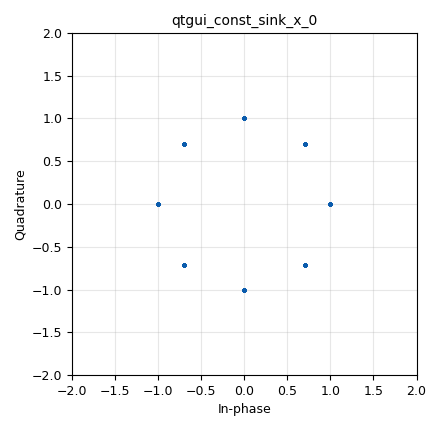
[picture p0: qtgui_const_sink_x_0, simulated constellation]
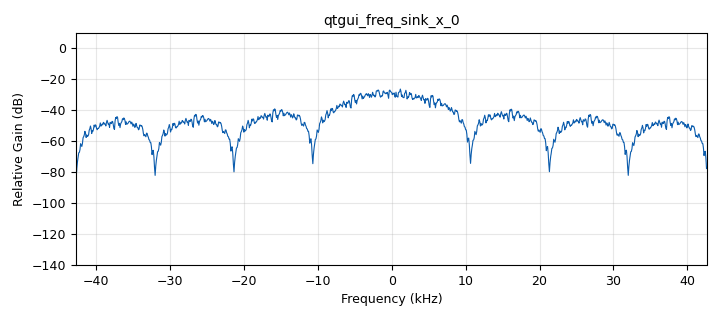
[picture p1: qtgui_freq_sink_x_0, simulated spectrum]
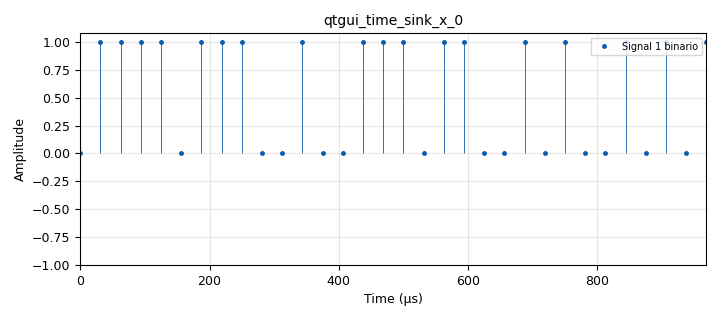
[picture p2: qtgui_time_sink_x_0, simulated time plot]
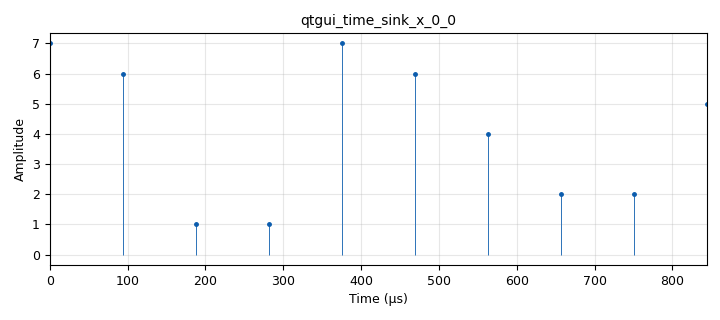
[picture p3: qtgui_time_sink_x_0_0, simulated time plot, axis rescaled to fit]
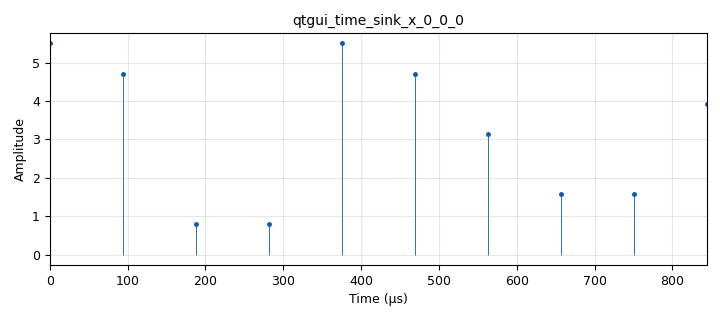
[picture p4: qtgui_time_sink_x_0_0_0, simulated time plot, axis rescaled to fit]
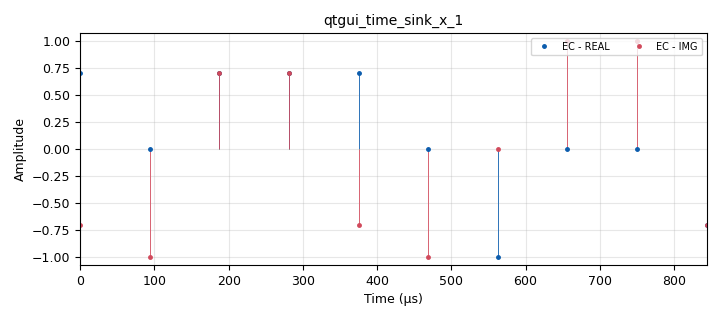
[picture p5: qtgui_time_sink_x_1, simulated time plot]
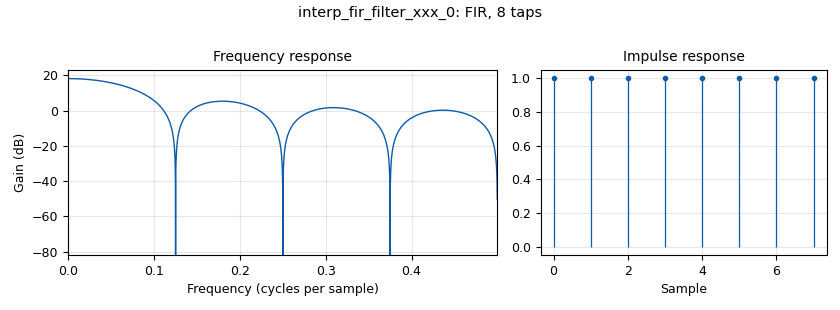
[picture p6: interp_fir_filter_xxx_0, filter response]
options:
  parameters:
    generate_options: qt_gui
    id: practica_5
    output_language: python
    title: Not titled yet
  states: {}

blocks:
- name: M
  id: variable
  parameters:
    value: '8'
  states: {}
- name: h
  id: variable
  parameters:
    value: (1.,1.,1.,1.,1.,1.,1.,1.)
  states: {}
- name: nbs
  id: variable
  parameters:
    value: int(math.log(M,2))
  states: {}
- name: rb
  id: variable
  parameters:
    value: '32000'
  states: {}
- name: rs
  id: variable
  parameters:
    value: rb/nbs
  states: {}
- name: samp_rate
  id: variable
  parameters:
    value: rs * sps
  states: {}
- name: sps
  id: variable
  parameters:
    value: len(h)
  states: {}
- name: analog_const_source_x_0
  id: analog_const_source_x
  parameters:
    const: '1.'
    type: float
  states: {}
- name: analog_random_source_x_0
  id: analog_random_source_x
  parameters:
    max: '2'
    min: '0'
    num_samps: '1000'
    repeat: 'True'
    type: byte
  states: {}
- name: blocks_char_to_float_0
  id: blocks_char_to_float
  parameters:
    scale: '1'
  states: {}
- name: blocks_char_to_float_0_0
  id: blocks_char_to_float
  parameters:
    scale: '1'
  states: {}
- name: blocks_char_to_float_1
  id: blocks_char_to_float
  parameters:
    scale: '1'
  states: {}
- name: blocks_multiply_const_vxx_0
  id: blocks_multiply_const_vxx
  parameters:
    const: 2*math.pi/M
    type: float
  states: {}
- name: blocks_repack_bits_bb_0
  id: blocks_repack_bits_bb
  parameters:
    endianness: gr.GR_LSB_FIRST
    k: '1'
    l: nbs
  states: {}
- name: epy_block_0
  id: epy_block
  parameters:
    _source_code: "import numpy as np\nfrom gnuradio import gr\n\nclass blk(gr.sync_block):\n    \"\"\"VCO Complex - genera señal compleja a partir de amplitud y fase\"\"\"\n\n    def __init__(self):\n        gr.sync_block.__init__(\n            self,\n            name='VCO complex',\n            in_sig=[np.float32, np.float32],\n            out_sig=[np.complex64]\n        )\n\n    def work(self, input_items, output_items):\n        amplitude = input_items[0]\n        phase = input_items[1]\n        output = output_items[0]\n        output[:] = amplitude * np.exp(1j * phase)\n        return len(output)\n\n"
  states: {}
- name: import_0
  id: import
  parameters:
    imports: import math
  states: {}
- name: interp_fir_filter_xxx_0
  id: interp_fir_filter_xxx
  parameters:
    interp: '8'
    taps: h
    type: ccc
  states: {}
- name: qtgui_const_sink_x_0
  id: qtgui_const_sink_x
  parameters:
    size: '1024'
    type: complex
  states: {}
- name: qtgui_freq_sink_x_0
  id: qtgui_freq_sink_x
  parameters:
    average: '0.05'
    bw: samp_rate
    fc: '0'
    fftsize: '1024'
    type: complex
  states: {}
- name: qtgui_time_sink_x_0
  id: qtgui_time_sink_x
  parameters:
    label1: Signal 1 binario
    marker1: '0'
    size: '32'
    srate: rb
    stemplot: 'True'
    type: float
    width1: '2'
  states: {}
- name: qtgui_time_sink_x_0_0
  id: qtgui_time_sink_x
  parameters:
    marker1: '0'
    size: int(32/nbs)
    srate: rs
    stemplot: 'True'
    type: float
    width1: '2'
  states: {}
- name: qtgui_time_sink_x_0_0_0
  id: qtgui_time_sink_x
  parameters:
    marker1: '0'
    size: int(32/nbs)
    srate: rs
    stemplot: 'True'
    type: float
    width1: '2'
  states: {}
- name: qtgui_time_sink_x_1
  id: qtgui_time_sink_x
  parameters:
    axislabels: 'False'
    color1: dark blue
    color2: dark red
    label1: EC - REAL
    label2: EC - IMG
    marker1: '9'
    marker2: '0'
    size: int(32/nbs)
    srate: rs
    stemplot: 'True'
    type: complex
    width1: '3'
    width2: '3'
  states: {}
- name: qtgui_time_sink_x_1_0
  id: qtgui_time_sink_x
  parameters:
    axislabels: 'False'
    color1: dark blue
    color2: dark red
    label1: EC - REAL
    label2: EC - IMG
    marker1: '9'
    marker2: '0'
    size: 32*sps
    srate: samp_rate
    type: complex
    width1: '3'
    width2: '3'
  states: {}

connections:
- [analog_const_source_x_0, '0', epy_block_0, '0']
- [analog_random_source_x_0, '0', blocks_char_to_float_0, '0']
- [analog_random_source_x_0, '0', blocks_repack_bits_bb_0, '0']
- [blocks_char_to_float_0, '0', qtgui_time_sink_x_0, '0']
- [blocks_char_to_float_0_0, '0', qtgui_time_sink_x_0_0, '0']
- [blocks_char_to_float_1, '0', blocks_multiply_const_vxx_0, '0']
- [blocks_multiply_const_vxx_0, '0', epy_block_0, '1']
- [blocks_multiply_const_vxx_0, '0', qtgui_time_sink_x_0_0_0, '0']
- [blocks_repack_bits_bb_0, '0', blocks_char_to_float_0_0, '0']
- [blocks_repack_bits_bb_0, '0', blocks_char_to_float_1, '0']
- [epy_block_0, '0', interp_fir_filter_xxx_0, '0']
- [epy_block_0, '0', qtgui_const_sink_x_0, '0']
- [epy_block_0, '0', qtgui_time_sink_x_1, '0']
- [interp_fir_filter_xxx_0, '0', qtgui_freq_sink_x_0, '0']
- [interp_fir_filter_xxx_0, '0', qtgui_time_sink_x_1_0, '0']

metadata:
  file_format: 1
  grc_version: 3.10.9.2
